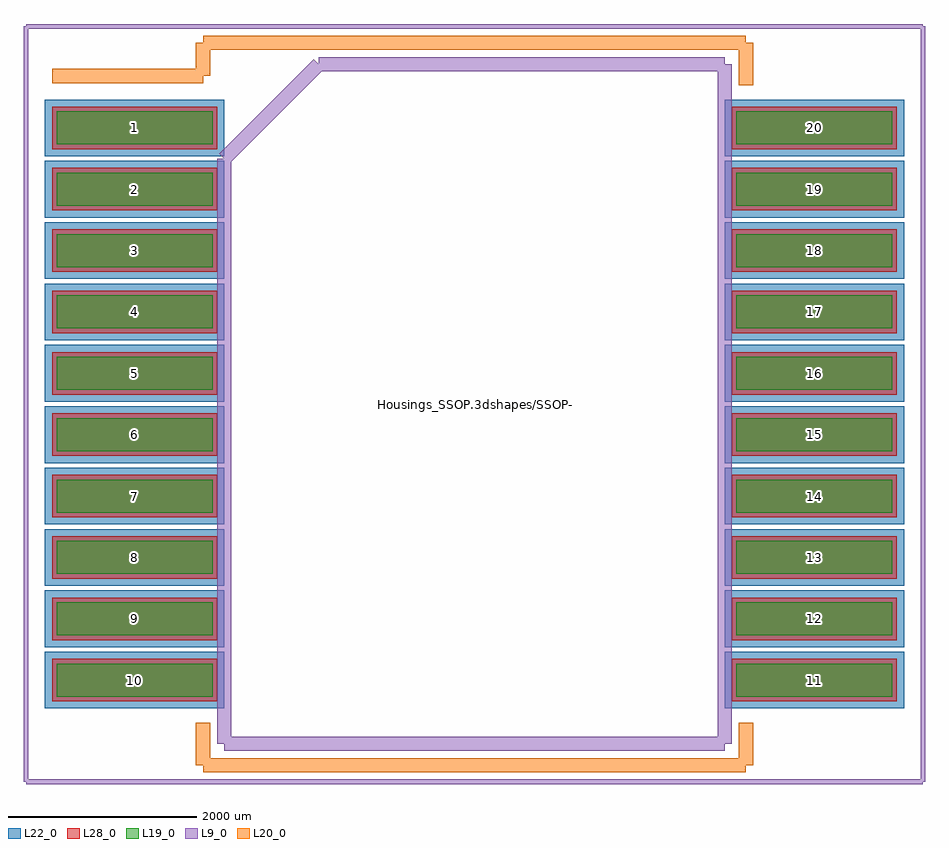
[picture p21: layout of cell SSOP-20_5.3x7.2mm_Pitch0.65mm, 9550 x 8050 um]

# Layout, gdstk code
import gdstk
lib = gdstk.Library(unit=1e-6, precision=1e-09)
def R(c, l, rs):  # rectangles x0, y0, x1, y1
    for r in rs: c.add(gdstk.rectangle(r[:2], r[2:], *l))
def A(c, l, x, y, w, h, nx, ny, dx, dy):  # array of equal rectangles
    R(c, l, [(x+i*dx, y+j*dy, x+i*dx+w, y+j*dy+h) for i in range(nx) for j in range(ny)])
L9_0 = (9, 0)
L19_0 = (19, 0)
L20_0 = (20, 0)
L22_0 = (22, 0)
L28_0 = (28, 0)

ssop_20_5_3x7_2mm_pitch0 = lib.new_cell('SSOP-20_5.3x7.2mm_Pitch0.65mm')
A(ssop_20_5_3x7_2mm_pitch0, L19_0, -4425, -3100, 1650, 350, 1, 10, 0, 650)
A(ssop_20_5_3x7_2mm_pitch0, L19_0, 2775, -3100, 1650, 350, 1, 10, 0, 650)
A(ssop_20_5_3x7_2mm_pitch0, L22_0, -4550, -3225, 1900, 600, 1, 10, 0, 650)
A(ssop_20_5_3x7_2mm_pitch0, L22_0, 2650, -3225, 1900, 600, 1, 10, 0, 650)
A(ssop_20_5_3x7_2mm_pitch0, L28_0, -4475, -3150, 1750, 450, 1, 10, 0, 650)
A(ssop_20_5_3x7_2mm_pitch0, L28_0, 2725, -3150, 1750, 450, 1, 10, 0, 650)
ssop_20_5_3x7_2mm_pitch0.add(gdstk.FlexPath([(-2875,3475),(-4475,3475)], 149.998, ends="flush", simple_path=True, layer=20, datatype=0))  # L20_0
ssop_20_5_3x7_2mm_pitch0.add(gdstk.FlexPath([(-2875,-3825),(2875,-3825)], 149.998, ends="flush", simple_path=True, layer=20, datatype=0))  # L20_0
ssop_20_5_3x7_2mm_pitch0.add(gdstk.FlexPath([(-2875,3825),(2875,3825)], 149.998, ends="flush", simple_path=True, layer=20, datatype=0))  # L20_0
ssop_20_5_3x7_2mm_pitch0.add(gdstk.FlexPath([(-2875,-3825),(-2875,-3375)], 149.998, ends="flush", simple_path=True, layer=20, datatype=0))  # L20_0
ssop_20_5_3x7_2mm_pitch0.add(gdstk.FlexPath([(2875,-3825),(2875,-3375)], 149.998, ends="flush", simple_path=True, layer=20, datatype=0))  # L20_0
ssop_20_5_3x7_2mm_pitch0.add(gdstk.FlexPath([(2875,3825),(2875,3375)], 149.998, ends="flush", simple_path=True, layer=20, datatype=0))  # L20_0
ssop_20_5_3x7_2mm_pitch0.add(gdstk.FlexPath([(-2875,3825),(-2875,3475)], 149.998, ends="flush", simple_path=True, layer=20, datatype=0))  # L20_0
ssop_20_5_3x7_2mm_pitch0.add(gdstk.FlexPath([(-4750,-4000),(4750,-4000)], 50, ends="flush", simple_path=True, layer=9, datatype=0))  # L9_0
ssop_20_5_3x7_2mm_pitch0.add(gdstk.FlexPath([(-4750,4000),(4750,4000)], 50, ends="flush", simple_path=True, layer=9, datatype=0))  # L9_0
ssop_20_5_3x7_2mm_pitch0.add(gdstk.FlexPath([(4750,4000),(4750,-4000)], 50, ends="flush", simple_path=True, layer=9, datatype=0))  # L9_0
ssop_20_5_3x7_2mm_pitch0.add(gdstk.FlexPath([(-4750,4000),(-4750,-4000)], 50, ends="flush", simple_path=True, layer=9, datatype=0))  # L9_0
ssop_20_5_3x7_2mm_pitch0.add(gdstk.FlexPath([(-2650,2600),(-1650,3600)], 149.998, ends="flush", simple_path=True, layer=9, datatype=0))  # L9_0
ssop_20_5_3x7_2mm_pitch0.add(gdstk.FlexPath([(-2650,-3600),(-2650,2600)], 149.998, ends="flush", simple_path=True, layer=9, datatype=0))  # L9_0
ssop_20_5_3x7_2mm_pitch0.add(gdstk.FlexPath([(2650,-3600),(-2650,-3600)], 149.998, ends="flush", simple_path=True, layer=9, datatype=0))  # L9_0
ssop_20_5_3x7_2mm_pitch0.add(gdstk.FlexPath([(2650,3600),(2650,-3600)], 149.998, ends="flush", simple_path=True, layer=9, datatype=0))  # L9_0
ssop_20_5_3x7_2mm_pitch0.add(gdstk.FlexPath([(-1650,3600),(2650,3600)], 149.998, ends="flush", simple_path=True, layer=9, datatype=0))  # L9_0
ssop_20_5_3x7_2mm_pitch0.add(gdstk.Label('Housings_SSOP.3dshapes/SSOP-20_5.3x7.2mm_Pitch0.65mm.wrl', (0,0), layer=12, texttype=0))
ssop_20_5_3x7_2mm_pitch0.add(gdstk.Label('20', (3600,2925), layer=28, texttype=0))
ssop_20_5_3x7_2mm_pitch0.add(gdstk.Label('19', (3600,2275), layer=28, texttype=0))
ssop_20_5_3x7_2mm_pitch0.add(gdstk.Label('18', (3600,1625), layer=28, texttype=0))
ssop_20_5_3x7_2mm_pitch0.add(gdstk.Label('17', (3600,975), layer=28, texttype=0))
ssop_20_5_3x7_2mm_pitch0.add(gdstk.Label('16', (3600,325), layer=28, texttype=0))
ssop_20_5_3x7_2mm_pitch0.add(gdstk.Label('15', (3600,-325), layer=28, texttype=0))
ssop_20_5_3x7_2mm_pitch0.add(gdstk.Label('14', (3600,-975), layer=28, texttype=0))
ssop_20_5_3x7_2mm_pitch0.add(gdstk.Label('13', (3600,-1625), layer=28, texttype=0))
ssop_20_5_3x7_2mm_pitch0.add(gdstk.Label('12', (3600,-2275), layer=28, texttype=0))
ssop_20_5_3x7_2mm_pitch0.add(gdstk.Label('11', (3600,-2925), layer=28, texttype=0))
ssop_20_5_3x7_2mm_pitch0.add(gdstk.Label('10', (-3600,-2925), layer=28, texttype=0))
ssop_20_5_3x7_2mm_pitch0.add(gdstk.Label('9', (-3600,-2275), layer=28, texttype=0))
ssop_20_5_3x7_2mm_pitch0.add(gdstk.Label('8', (-3600,-1625), layer=28, texttype=0))
ssop_20_5_3x7_2mm_pitch0.add(gdstk.Label('7', (-3600,-975), layer=28, texttype=0))
ssop_20_5_3x7_2mm_pitch0.add(gdstk.Label('6', (-3600,-325), layer=28, texttype=0))
ssop_20_5_3x7_2mm_pitch0.add(gdstk.Label('5', (-3600,325), layer=28, texttype=0))
ssop_20_5_3x7_2mm_pitch0.add(gdstk.Label('4', (-3600,975), layer=28, texttype=0))
ssop_20_5_3x7_2mm_pitch0.add(gdstk.Label('3', (-3600,1625), layer=28, texttype=0))
ssop_20_5_3x7_2mm_pitch0.add(gdstk.Label('2', (-3600,2275), layer=28, texttype=0))
ssop_20_5_3x7_2mm_pitch0.add(gdstk.Label('1', (-3600,2925), layer=28, texttype=0))
ssop_20_5_3x7_2mm_pitch0.add(gdstk.Label('type', (0,-4750), layer=9, texttype=0))
ssop_20_5_3x7_2mm_pitch0.add(gdstk.Label('devicename', (0,4750), layer=9, texttype=0))

lib.write_gds('SSOP-20_5.3x7.2mm_Pitch0.65mm.gds')
